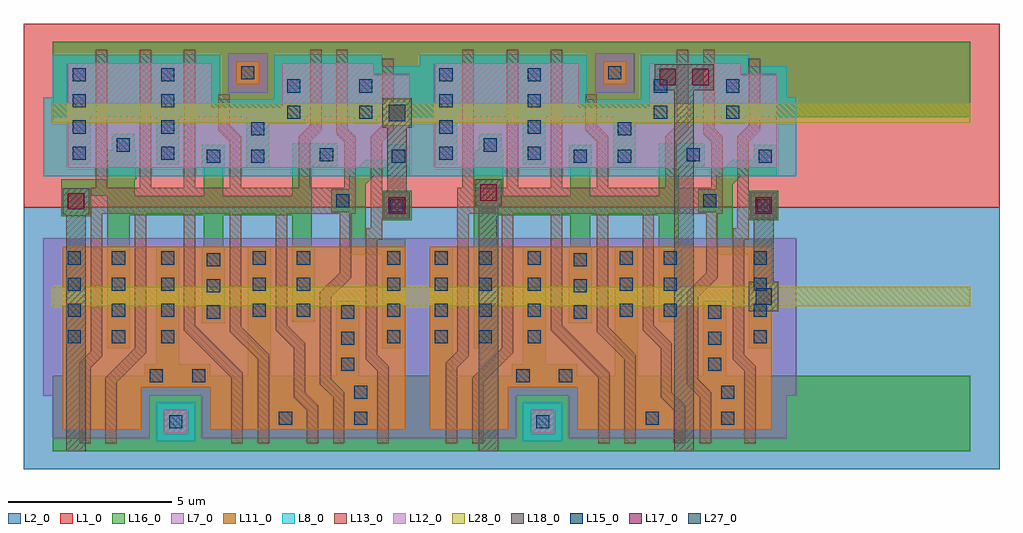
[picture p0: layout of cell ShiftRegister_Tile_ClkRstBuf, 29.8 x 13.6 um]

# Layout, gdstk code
from math import pi, radians
import gdstk
lib = gdstk.Library(unit=1e-6, precision=1e-09)
def R(c, l, rs):  # rectangles x0, y0, x1, y1
    for r in rs: c.add(gdstk.rectangle(r[:2], r[2:], *l))
def A(c, l, x, y, w, h, nx, ny, dx, dy):  # array of equal rectangles
    R(c, l, [(x+i*dx, y+j*dy, x+i*dx+w, y+j*dy+h) for i in range(nx) for j in range(ny)])
def P(c, l, *ps):  # polygons
    for p in ps: c.add(gdstk.Polygon(p, *l))
L1_0 = (1, 0)
L2_0 = (2, 0)
L7_0 = (7, 0)
L8_0 = (8, 0)
L11_0 = (11, 0)
L12_0 = (12, 0)
L13_0 = (13, 0)
L15_0 = (15, 0)
L16_0 = (16, 0)
L17_0 = (17, 0)
L18_0 = (18, 0)
L27_0 = (27, 0)
L28_0 = (28, 0)

feed1 = lib.new_cell('FEED1')
R(feed1, L1_0, [(-1.6,-0.55,1.6,5.05)])
R(feed1, L2_0, [(-1.6,5.05,1.6,13.05)])
R(feed1, L16_0, [(-0.7,0,0.7,2.3), (-0.7,10.2,0.7,12.5)])
feed1.add(gdstk.Label('& Version 400c', (0,0), layer=11, texttype=0))
feed1.add(gdstk.Label('& Product tcb773p', (0,0), layer=11, texttype=0))
feed1.add(gdstk.Label('& Vendor Taiwan Semiconductor Manufacturing Corp.', (0,0), layer=11, texttype=0))
feed1.add(gdstk.Label('& SerialNumber 000000', (0,0), layer=11, texttype=0))
feed1.add(gdstk.Label('& Distributor Vanguard', (0,0), layer=11, texttype=0))
feed1.add(gdstk.Label('& Metric 17.5', (0,0), layer=11, texttype=0))
feed1.add(gdstk.Label('FEED1', (-0.7,0), layer=62, texttype=0))
feed1.add(gdstk.Label('VDD', (0.025,11.5), layer=40, texttype=0))
feed1.add(gdstk.Label('VSS', (0.15,0.85), layer=40, texttype=0))

buf6 = lib.new_cell('BUF6')
R(buf6, L1_0, [(-1.6,-0.55,11.4,5.05)])
R(buf6, L2_0, [(-1.6,5.05,11.4,13.05)])
R(buf6, L7_0, [(3.95,0.35,5.15,1.55)])
P(buf6, L7_0, [(-1,6),(-1,10.8),(-0.7,10.8),(-0.7,12.1),(5.95,12.1),(5.95,10.8),(7.55,10.8),(7.55,12.1),(10.5,12.1),(10.5,10.8),(10.8,10.8),(10.8,6)])
R(buf6, L8_0, [(6.15,11,7.35,12.2)])
P(buf6, L8_0, [(0.45,0.4),(0.45,0.75),(-0.7,0.75),(-0.7,1.7),(-1,1.7),(-1,4.1),(10.8,4.1),(10.8,1.7),(10.5,1.7),(10.5,0.4),(5.4,0.4),(5.4,1.75),(3.75,1.75),(3.75,0.4)])
R(buf6, L11_0, [(4.2,0.6,4.9,1.3)])
P(buf6, L11_0, [(-0.25,6.25),(-0.25,11.85),(5.7,11.85),(5.7,10.55),(7.8,10.55),(7.8,11.85),(10.2,11.85),(10.2,6.25)])
R(buf6, L12_0, [(6.4,11.25,7.1,11.95)])
P(buf6, L12_0, [(0.7,0.65),(0.7,1),(-0.4,1),(-0.4,3.85),(10.05,3.85),(10.05,0.65),(5.65,0.65),(5.65,2),(3.5,2),(3.5,0.65)])
P(buf6, L13_0, [(0.1,0.525),(0.1,2.7),(0.45,3.05),(0.45,4.6),(-0.4,4.6),(-0.4,5.4),(0.45,5.4),(0.45,6.05),(0.6,6.05),(0.6,9.55),(0.25,9.9),(0.25,12.25),(0.6,12.25),(0.6,10.05),(0.95,9.7),(0.95,5.7),(0.8,5.7),(0.8,2.9),(0.45,2.55),(0.45,0.525)],
  [(1.5,0.25),(1.5,2.65),(1.25,2.9),(1.25,5.25),(1.4,5.25),(1.4,7.2),(2,7.8),(2,10.3),(1.6,10.7),(1.6,12.25),(1.95,12.25),(1.95,10.85),(2.35,10.45),(2.35,7.65),(1.75,7.05),(1.75,5.25),(3.35,5.25),(3.35,8.65),(2.8,9.2),(2.8,10.7),(2.4,11.1),(2.4,12.25),(2.75,12.25),(2.75,11.25),(3.15,10.85),(3.15,9.35),(3.7,8.8),(3.7,5.25),(4.75,5.25),(4.75,8.7),(3.9,9.55),(3.9,12.25),(4.25,12.25),(4.25,9.7),(5.1,8.85),(5.1,5.25),(6.15,5.25),(6.15,8.65),(4.7,10.1),(4.7,12.25),(5.05,12.25),(5.05,10.25),(6.5,8.8),(6.5,5.25),(7.65,5.25),(7.65,9.5),(8.55,10.4),(8.55,12.25),(8.9,12.25),(8.9,10.25),(8,9.35),(8,5.25),(9,5.25),(9,9.6),(9.35,9.95),(9.35,12.25),(9.7,12.25),(9.7,9.8),(9.35,9.45),(9.35,4.45),(9.2,4.45),(9.2,0.25),(8.85,0.25),(8.85,4.45),(7.85,4.45),(7.85,0.25),(7.5,0.25),(7.5,4.45),(6.5,4.45),(6.5,0.25),(6.15,0.25),(6.15,4.45),(5.1,4.45),(5.1,3.05),(5.45,2.7),(5.45,1.6),(5.1,1.6),(5.1,2.55),(4.75,2.9),(4.75,4.45),(3,4.45),(3,2.9),(2.65,2.55),(2.65,0.25),(2.3,0.25),(2.3,2.7),(2.65,3.05),(2.65,4.45),(1.6,4.45),(1.6,3.05),(1.85,2.8),(1.85,0.25)])
A(buf6, L15_0, 6.8, 0.8, 0.4, 0.4, 1, 4, 0, 0.8)
A(buf6, L15_0, 9.5, 0.8, 0.4, 0.4, 1, 4, 0, 0.8)
A(buf6, L15_0, -0.1, 6.4, 0.4, 0.4, 1, 4, 0, 0.8)
A(buf6, L15_0, 2.65, 6.4, 0.4, 0.4, 1, 3, 0, 0.8)
A(buf6, L15_0, 4, 6.4, 0.4, 0.4, 1, 3, 0, 0.8)
A(buf6, L15_0, 6.8, 6.4, 0.4, 0.4, 1, 4, 0, 0.8)
A(buf6, L15_0, 8.3, 6.4, 0.4, 0.4, 1, 4, 0, 0.8)
A(buf6, L15_0, 9.65, 6.4, 0.4, 0.4, 1, 4, 0, 0.8)
A(buf6, L15_0, 5.4, 6.45, 0.4, 0.4, 1, 3, 0, 0.8)
A(buf6, L15_0, 1.3, 8.05, 0.4, 0.4, 1, 3, 0, 0.8)
R(buf6, L15_0, [(4.35,0.75,4.75,1.15), (0.75,1.15,1.15,1.55), (2.95,1.15,3.35,1.55), (0.75,1.95,1.15,2.35), (2.95,1.95,3.35,2.35), (4.05,2.45,4.45,2.85), (8.15,2.95,8.55,3.35), (1.95,3.25,2.35,3.65), (-0.25,3.3,0.15,3.7), (4.05,3.3,4.45,3.7), (5.4,3.3,5.8,3.7), (1.45,4.65,1.85,5.05), (-0.2,4.8,0.2,5.2), (5.85,10,6.25,10.4), (7.15,10,7.55,10.4), (0.9,10.5,1.3,10.9), (0.9,11.3,1.3,11.7), (3.2,11.3,3.6,11.7), (6.55,11.4,6.95,11.8)])
R(buf6, L16_0, [(-0.45,4.55,0.45,5.45)])
P(buf6, L16_0, [(-0.4,3.15),(-0.4,4.1),(0.7,4.1),(0.95,4.35),(0.95,6),(-0.25,6),(-0.25,9.35),(0.45,9.35),(0.45,6.5),(1.45,6.5),(1.45,5.2),(2,5.2),(2,4.5),(1.45,4.5),(1.45,4.1),(0.95,3.6),(0.3,3.6),(0.3,3.15)],
  [(1.8,3.1),(1.8,3.8),(2.6,3.8),(2.6,6.25),(2.5,6.25),(2.5,8.55),(3.2,8.55),(3.2,5.3),(5.3,5.3),(5.3,6.3),(5.25,6.3),(5.25,8.6),(5.95,8.6),(5.95,6.3),(5.9,6.3),(5.9,5.3),(8.15,5.3),(8.15,9.35),(8.85,9.35),(8.85,4.7),(8.7,4.7),(8.7,4.2),(8.85,4.2),(8.85,3.3),(8.7,3.3),(8.7,2.8),(8,2.8),(8,3.3),(7.95,3.3),(7.95,4.2),(8,4.2),(8,4.7),(5.9,4.7),(5.9,3.85),(5.95,3.85),(5.95,3.15),(5.25,3.15),(5.25,3.85),(5.3,3.85),(5.3,4.7),(3.2,4.7),(3.2,3.1)],
  [(3.85,6.25),(3.85,10.2),(1.85,10.2),(1.85,7.9),(1.15,7.9),(1.15,10.2),(-0.7,10.2),(-0.7,12.5),(10.5,12.5),(10.5,10.2),(10.2,10.2),(10.2,6.25),(9.5,6.25),(9.5,10.2),(7.7,10.2),(7.7,9.85),(7.35,9.85),(7.35,6.25),(6.65,6.25),(6.65,9.85),(5.7,9.85),(5.7,10.2),(4.55,10.2),(4.55,6.25)],
  [(-0.7,0),(-0.7,2.3),(0.6,2.3),(0.6,2.5),(1.3,2.5),(1.3,2.3),(2.8,2.3),(2.8,2.5),(3.9,2.5),(3.9,3.85),(4.6,3.85),(4.6,2.3),(6.65,2.3),(6.65,3.75),(7.35,3.75),(7.35,2.3),(9.35,2.3),(9.35,3.75),(10.05,3.75),(10.05,2.3),(10.5,2.3),(10.5,0)])
buf6.add(gdstk.Label('BUF6', (-0.7,0), layer=62, texttype=0))
buf6.add(gdstk.Label('Z', (8.4,3.75), layer=40, texttype=0))
buf6.add(gdstk.Label('VDD', (0.075,11.375), layer=40, texttype=0))
buf6.add(gdstk.Label('VSS', (0.125,1.025), layer=40, texttype=0))
buf6.add(gdstk.Label('I', (0,5), layer=40, texttype=0))
buf6.add(gdstk.Label('& SerialNumber 000000', (0,0), layer=11, texttype=0))
buf6.add(gdstk.Label('& Distributor Vanguard', (0,0), layer=11, texttype=0))
buf6.add(gdstk.Label('& Metric 140.0', (0,0), layer=11, texttype=0))
buf6.add(gdstk.Label('& Version 400c', (0,0), layer=11, texttype=0))
buf6.add(gdstk.Label('& Product tcb773p', (0,0), layer=11, texttype=0))
buf6.add(gdstk.Label('& Vendor Taiwan Semiconductor Manufacturing Corp.', (0,0), layer=11, texttype=0))

m2_m1_cdns_739384175320 = lib.new_cell('M2_M1_CDNS_739384175320')
R(m2_m1_cdns_739384175320, L16_0, [(-0.45,-0.45,0.45,0.45)])
R(m2_m1_cdns_739384175320, L17_0, [(-0.25,-0.25,0.25,0.25)])
R(m2_m1_cdns_739384175320, L18_0, [(-0.4,-0.4,0.4,0.4)])

m3_m2_cdns_739384175321 = lib.new_cell('M3_M2_CDNS_739384175321')
R(m3_m2_cdns_739384175321, L18_0, [(-0.45,-0.45,0.45,0.45)])
R(m3_m2_cdns_739384175321, L27_0, [(-0.25,-0.25,0.25,0.25)])
R(m3_m2_cdns_739384175321, L28_0, [(-0.4,-0.4,0.4,0.4)])

m2_m1_cdns_739384175322 = lib.new_cell('M2_M1_CDNS_739384175322')
R(m2_m1_cdns_739384175322, L16_0, [(-0.95,-0.45,0.95,0.45)])
R(m2_m1_cdns_739384175322, L17_0, [(-0.75,-0.25,-0.25,0.25), (0.25,-0.25,0.75,0.25)])
R(m2_m1_cdns_739384175322, L18_0, [(-0.9,-0.4,0.9,0.4)])

shiftregister_tile_clkrs = lib.new_cell('ShiftRegister_Tile_ClkRstBuf')
R(shiftregister_tile_clkrs, L16_0, [(1.15,8.35,2.7,8.85)])
shiftregister_tile_clkrs.add(gdstk.FlexPath([(20.17,0.55),(20.17,11.97)], 0.6, ends="flush", simple_path=True, layer=18, datatype=0))  # L18_0
shiftregister_tile_clkrs.add(gdstk.FlexPath([(22.6,8.05),(22.6,5.27)], 0.6, ends="flush", simple_path=True, layer=18, datatype=0))  # L18_0
shiftregister_tile_clkrs.add(gdstk.FlexPath([(11.4,8.05),(11.4,10.88)], 0.6, ends="flush", simple_path=True, layer=18, datatype=0))  # L18_0
shiftregister_tile_clkrs.add(gdstk.FlexPath([(14.2,0.55),(14.2,8.45)], 0.6, ends="flush", simple_path=True, layer=18, datatype=0))  # L18_0
shiftregister_tile_clkrs.add(gdstk.FlexPath([(1.6,0.55),(1.6,8.18)], 0.6, ends="flush", simple_path=True, layer=18, datatype=0))  # L18_0
shiftregister_tile_clkrs.add(gdstk.FlexPath([(0.9,5.27),(22.6,5.27)], 0.6, ends="flush", simple_path=True, layer=28, datatype=0))  # L28_0
shiftregister_tile_clkrs.add(gdstk.FlexPath([(0.9,10.88),(11.4,10.88)], 0.6, ends="flush", simple_path=True, layer=28, datatype=0))  # L28_0
shiftregister_tile_clkrs.add(gdstk.FlexPath([(22.6,5.27),(28.9,5.27)], 0.6, ends="flush", simple_path=True, layer=28, datatype=0))  # L28_0
shiftregister_tile_clkrs.add(gdstk.FlexPath([(11.4,10.88),(28.9,10.88)], 0.6, ends="flush", simple_path=True, layer=28, datatype=0))  # L28_0
r = gdstk.Reference(feed1, (24,13.05), x_reflection=True); r.repetition = gdstk.Repetition(4, 1, v1=(1.4,0), v2=(0,-14.431)); shiftregister_tile_clkrs.add(r)
shiftregister_tile_clkrs.add(gdstk.Reference(buf6, (22.6,13.05), rotation=pi))
shiftregister_tile_clkrs.add(gdstk.Reference(buf6, (11.4,13.05), rotation=pi))
shiftregister_tile_clkrs.add(gdstk.Reference(m2_m1_cdns_739384175320, (22.6,8.05)))
shiftregister_tile_clkrs.add(gdstk.Reference(m2_m1_cdns_739384175320, (11.4,8.05)))
shiftregister_tile_clkrs.add(gdstk.Reference(m2_m1_cdns_739384175320, (14.2,8.45)))
shiftregister_tile_clkrs.add(gdstk.Reference(m2_m1_cdns_739384175320, (1.6,8.18)))
shiftregister_tile_clkrs.add(gdstk.Reference(m3_m2_cdns_739384175321, (22.6,5.27)))
shiftregister_tile_clkrs.add(gdstk.Reference(m3_m2_cdns_739384175321, (11.4,10.88)))
shiftregister_tile_clkrs.add(gdstk.Reference(m2_m1_cdns_739384175322, (20.17,11.97)))

lib.write_gds('ShiftRegister_Tile_ClkRstBuf.gds')
